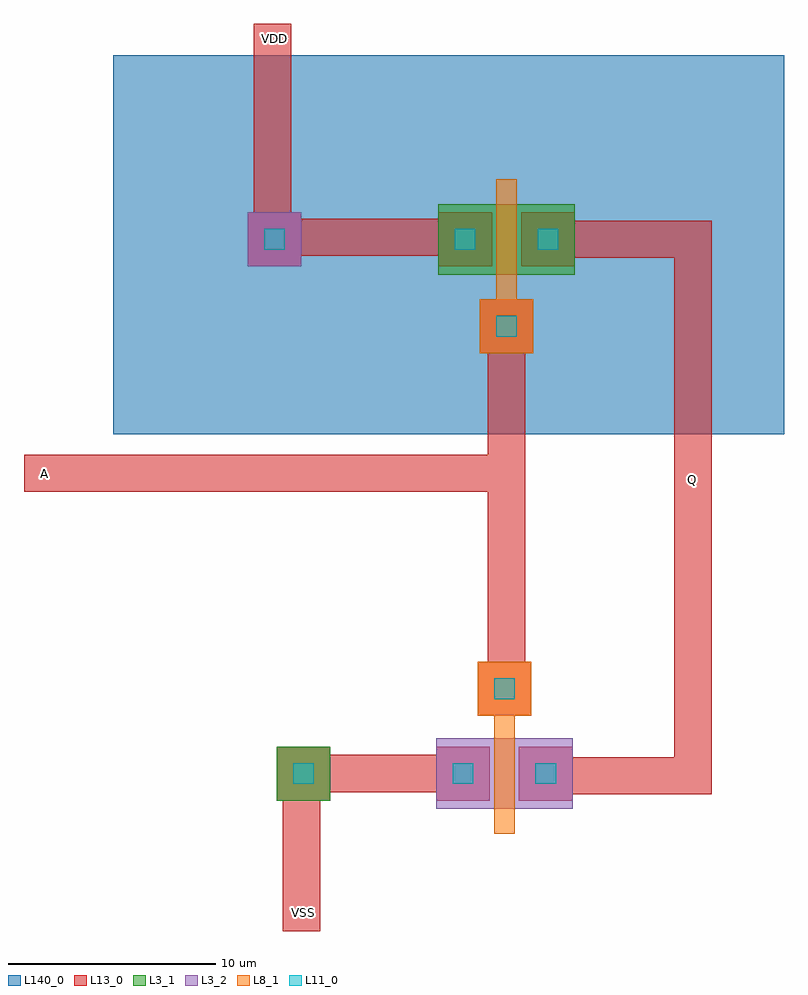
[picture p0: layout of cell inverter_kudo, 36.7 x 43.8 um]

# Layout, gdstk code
import gdstk
lib = gdstk.Library(unit=1e-6, precision=1e-07)
def R(c, l, rs):  # rectangles x0, y0, x1, y1
    for r in rs: c.add(gdstk.rectangle(r[:2], r[2:], *l))
L3_1 = (3, 1)
L3_2 = (3, 2)
L8_1 = (8, 1)
L11_0 = (11, 0)
L13_0 = (13, 0)
L140_0 = (140, 0)

fet_p = lib.new_cell('fet_p')
R(fet_p, L3_1, [(-3.3,-1.7,3.3,1.7)])
R(fet_p, L11_0, [(-2.5,-0.5,-1.5,0.5), (1.5,-0.5,2.5,0.5)])
R(fet_p, L13_0, [(-3.3,-1.3,-0.7,1.3), (0.7,-1.3,3.3,1.3)])
fet_p.add(gdstk.FlexPath([(0,-2.9),(0,2.9)], 1, ends="flush", simple_path=True, layer=8, datatype=1))  # L8_1

cont_n = lib.new_cell('cont_n')
R(cont_n, L3_2, [(-1.3,-1.3,1.3,1.3)])
R(cont_n, L11_0, [(-0.5,-0.5,0.5,0.5)])
R(cont_n, L13_0, [(-1.3,-1.3,1.3,1.3)])

cont_g = lib.new_cell('cont_g')
R(cont_g, L8_1, [(-1.3,-1.3,1.3,1.3)])
R(cont_g, L11_0, [(-0.5,-0.5,0.5,0.5)])
R(cont_g, L13_0, [(-1.3,-1.3,1.3,1.3)])

fet_n = lib.new_cell('fet_n')
R(fet_n, L3_2, [(-3.3,-1.7,3.3,1.7)])
R(fet_n, L11_0, [(-2.5,-0.5,-1.5,0.5), (1.5,-0.5,2.5,0.5)])
R(fet_n, L13_0, [(-3.3,-1.3,-0.7,1.3), (0.7,-1.3,3.3,1.3)])
fet_n.add(gdstk.FlexPath([(0,-2.9),(0,2.9)], 1, ends="flush", simple_path=True, layer=8, datatype=1))  # L8_1

cont_p = lib.new_cell('cont_p')
R(cont_p, L3_1, [(-1.3,-1.3,1.3,1.3)])
R(cont_p, L11_0, [(-0.5,-0.5,0.5,0.5)])
R(cont_p, L13_0, [(-1.3,-1.3,1.3,1.3)])

inverter_kudo = lib.new_cell('inverter_kudo')
R(inverter_kudo, L140_0, [(-18.5,-6.3,13.9,12)])
inverter_kudo.add(gdstk.FlexPath([(-1.6,3.2),(-10.8,3.2),(-10.8,13.5)], 1.8, ends="flush", simple_path=True, layer=13, datatype=0))  # L13_0
inverter_kudo.add(gdstk.FlexPath([(0.5,-1.1),(0.5,-17.6)], 1.8, ends="flush", simple_path=True, layer=13, datatype=0))  # L13_0
inverter_kudo.add(gdstk.FlexPath([(0,-8.2),(-22.8,-8.2)], 1.8, ends="flush", simple_path=True, layer=13, datatype=0))  # L13_0
inverter_kudo.add(gdstk.FlexPath([(2.7,-22.8),(9.5,-22.8),(9.5,3.1),(2.6,3.1)], 1.8, ends="flush", simple_path=True, layer=13, datatype=0))  # L13_0
inverter_kudo.add(gdstk.FlexPath([(-1.8,-22.7),(-9.4,-22.7),(-9.4,-30.3)], 1.8, ends="flush", simple_path=True, layer=13, datatype=0))  # L13_0
inverter_kudo.add(gdstk.Reference(fet_p, (0.5,3.1)))
inverter_kudo.add(gdstk.Reference(cont_n, (-10.7,3.1)))
inverter_kudo.add(gdstk.Reference(cont_g, (0.5,-1.1)))
inverter_kudo.add(gdstk.Reference(fet_n, (0.4,-22.7)))
inverter_kudo.add(gdstk.Reference(cont_g, (0.4,-18.6)))
inverter_kudo.add(gdstk.Reference(cont_p, (-9.3,-22.7)))
inverter_kudo.add(gdstk.Label('VDD', (-10.7,12.8), layer=13, texttype=0))
inverter_kudo.add(gdstk.Label('A', (-21.8,-8.2), layer=13, texttype=0))
inverter_kudo.add(gdstk.Label('Q', (9.5,-8.5), layer=13, texttype=0))
inverter_kudo.add(gdstk.Label('VSS', (-9.3,-29.4), layer=13, texttype=0))

lib.write_gds('inverter_kudo.gds')
